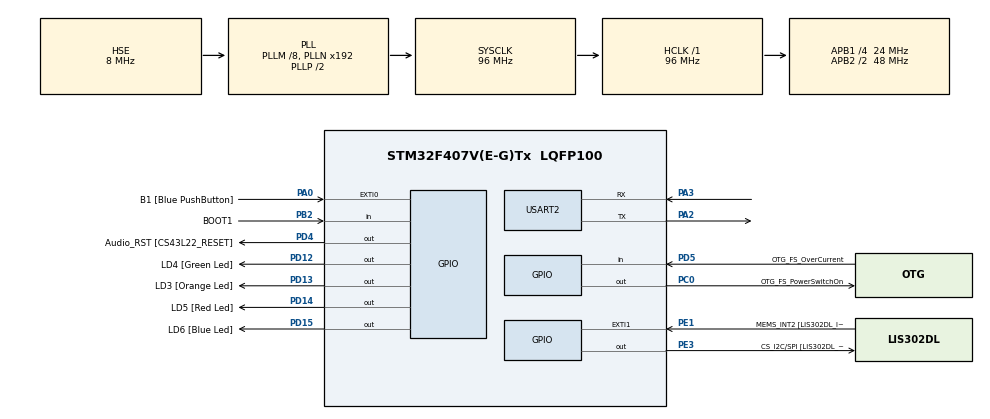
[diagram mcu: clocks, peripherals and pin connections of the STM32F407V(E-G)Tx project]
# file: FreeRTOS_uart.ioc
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FREERTOS.Tasks01=defaultTask,0,128,StartDefaultTask,Default,NULL,Dynamic,NULL,NULL
FREERTOS.configUSE_COUNTING_SEMAPHORES=1
Mcu.Family=STM32F4
Mcu.Name=STM32F407V(E-G)Tx
Mcu.Package=LQFP100
NVIC.PriorityGroup=NVIC_PRIORITYGROUP_4
NVIC.TIM6_DAC_IRQn=true\:15\:0\:false\:false\:true\:false\:false\:true\:true
NVIC.TimeBase=TIM6_DAC_IRQn
NVIC.TimeBaseIP=TIM6
NVIC.USART2_IRQn=true\:5\:0\:false\:false\:true\:true\:true\:true\:true
PA0-WKUP.GPIO_Label=B1 [Blue PushButton]
PA0-WKUP.Signal=GPXTI0
PA10.GPIO_Label=OTG_FS_ID
PA10.GPIO_Mode=GPIO_MODE_AF_PP
PA10.GPIO_PuPd=GPIO_NOPULL
PA10.GPIO_Speed=GPIO_SPEED_FREQ_LOW
PA10.Signal=USB_OTG_FS_ID
PA11.GPIO_Label=OTG_FS_DM
PA11.GPIO_Mode=GPIO_MODE_AF_PP
PA11.GPIO_PuPd=GPIO_NOPULL
PA11.GPIO_Speed=GPIO_SPEED_FREQ_LOW
PA11.Signal=USB_OTG_FS_DM
PA12.GPIO_Label=OTG_FS_DP
PA12.GPIO_Mode=GPIO_MODE_AF_PP
PA12.GPIO_PuPd=GPIO_NOPULL
PA12.GPIO_Speed=GPIO_SPEED_FREQ_LOW
PA12.Signal=USB_OTG_FS_DP
PA13.GPIO_Label=SWDIO
PA13.Signal=SYS_JTMS-SWDIO
PA14.GPIO_Label=SWCLK
PA14.Signal=SYS_JTCK-SWCLK
PA2.Mode=Asynchronous
PA2.Signal=USART2_TX
PA3.Mode=Asynchronous
PA3.Signal=USART2_RX
PA4.GPIO_Label=I2S3_WS [CS43L22_LRCK]
PA4.GPIO_Mode=GPIO_MODE_AF_PP
PA4.GPIO_PuPd=GPIO_NOPULL
PA4.GPIO_Speed=GPIO_SPEED_FREQ_LOW
PA4.Signal=I2S3_WS
PA5.GPIO_Label=SPI1_SCK [LIS302DL_SCL/SPC]
PA5.GPIO_Mode=GPIO_MODE_AF_PP
PA5.GPIO_PuPd=GPIO_NOPULL
PA5.GPIO_Speed=GPIO_SPEED_FREQ_LOW
PA5.Signal=SPI1_SCK
PA6.GPIO_Label=SPI1_MISO [LIS302DL_SDO]
PA6.GPIO_Mode=GPIO_MODE_AF_PP
PA6.GPIO_PuPd=GPIO_NOPULL
PA6.GPIO_Speed=GPIO_SPEED_FREQ_LOW
PA6.Signal=SPI1_MISO
PA7.GPIO_Label=SPI1_MOSI [LIS302DL_SDA/SDI/SDO]
PA7.GPIO_Mode=GPIO_MODE_AF_PP
PA7.GPIO_PuPd=GPIO_NOPULL
PA7.GPIO_Speed=GPIO_SPEED_FREQ_LOW
PA7.Signal=SPI1_MOSI
PA9.GPIO_Label=VBUS_FS
PA9.GPIO_Mode=GPIO_MODE_INPUT
PA9.GPIO_PuPd=GPIO_NOPULL
PA9.Signal=USB_OTG_FS_VBUS
PB10.GPIO_Label=CLK_IN [MP45DT02_CLK]
PB10.GPIO_Mode=GPIO_MODE_AF_PP
PB10.GPIO_PuPd=GPIO_NOPULL
PB10.GPIO_Speed=GPIO_SPEED_FREQ_LOW
PB10.Signal=I2S2_CK
PB2.GPIO_Label=BOOT1
PB2.GPIO_Mode=GPIO_MODE_INPUT
PB2.GPIO_PuPd=GPIO_NOPULL
PB2.Signal=GPIO_Input
PB3.GPIO_Label=SWO
PB3.Signal=SYS_JTDO-SWO
PB6.GPIO_Label=Audio_SCL [CS43L22_SCL]
PB6.GPIO_Mode=GPIO_MODE_AF_OD
PB6.GPIO_PuPd=GPIO_NOPULL
PB6.GPIO_Speed=GPIO_SPEED_FREQ_LOW
PB6.Signal=I2C1_SCL
PB9.GPIO_Label=Audio_SDA [CS43L22_SDA]
PB9.GPIO_Mode=GPIO_MODE_AF_OD
PB9.GPIO_PuPd=GPIO_NOPULL
PB9.GPIO_Speed=GPIO_SPEED_FREQ_LOW
PB9.Signal=I2C1_SDA
PC0.GPIO_Label=OTG_FS_PowerSwitchOn
PC0.GPIO_PuPd=GPIO_NOPULL
PC0.GPIO_Speed=GPIO_SPEED_FREQ_LOW
PC0.PinState=GPIO_PIN_SET
PC0.Signal=GPIO_Output
PC10.GPIO_Label=I2S3_SCK [CS43L22_SCLK]
PC10.GPIO_Mode=GPIO_MODE_AF_PP
PC10.GPIO_PuPd=GPIO_NOPULL
PC10.GPIO_Speed=GPIO_SPEED_FREQ_LOW
PC10.Signal=I2S3_CK
PC12.GPIO_Label=I2S3_SD [CS43L22_SDIN]
PC12.GPIO_Mode=GPIO_MODE_AF_PP
PC12.GPIO_PuPd=GPIO_NOPULL
PC12.GPIO_Speed=GPIO_SPEED_FREQ_LOW
PC12.Signal=I2S3_SD
PC14-OSC32_IN.GPIO_Label=PC14-OSC32_IN
PC14-OSC32_IN.Signal=RCC_OSC32_IN
PC15-OSC32_OUT.GPIO_Label=PC15-OSC32_OUT
PC15-OSC32_OUT.Signal=RCC_OSC32_OUT
PC3.GPIO_Label=PDM_OUT [MP45DT02_DOUT]
PC3.GPIO_Mode=GPIO_MODE_AF_PP
PC3.GPIO_PuPd=GPIO_NOPULL
PC3.GPIO_Speed=GPIO_SPEED_FREQ_LOW
PC3.Signal=I2S2_SD
PC7.GPIO_Label=I2S3_MCK [CS43L22_MCLK]
PC7.GPIO_Mode=GPIO_MODE_AF_PP
PC7.GPIO_PuPd=GPIO_NOPULL
PC7.GPIO_Speed=GPIO_SPEED_FREQ_LOW
PC7.Signal=I2S3_MCK
PD12.GPIO_Label=LD4 [Green Led]
PD12.GPIO_PuPd=GPIO_NOPULL
PD12.GPIO_Speed=GPIO_SPEED_FREQ_LOW
PD12.Signal=GPIO_Output
PD13.GPIO_Label=LD3 [Orange Led]
PD13.GPIO_PuPd=GPIO_NOPULL
PD13.GPIO_Speed=GPIO_SPEED_FREQ_LOW
PD13.Signal=GPIO_Output
PD14.GPIO_Label=LD5 [Red Led]
PD14.GPIO_PuPd=GPIO_NOPULL
PD14.GPIO_Speed=GPIO_SPEED_FREQ_LOW
PD14.Signal=GPIO_Output
PD15.GPIO_Label=LD6 [Blue Led]
PD15.GPIO_PuPd=GPIO_NOPULL
PD15.GPIO_Speed=GPIO_SPEED_FREQ_LOW
PD15.Signal=GPIO_Output
PD4.GPIO_Label=Audio_RST [CS43L22_RESET]
PD4.GPIO_PuPd=GPIO_NOPULL
PD4.GPIO_Speed=GPIO_SPEED_FREQ_LOW
PD4.Signal=GPIO_Output
PD5.GPIO_Label=OTG_FS_OverCurrent
PD5.GPIO_Mode=GPIO_MODE_INPUT
PD5.GPIO_PuPd=GPIO_NOPULL
PD5.Signal=GPIO_Input
PE1.GPIO_Label=MEMS_INT2 [LIS302DL_INT2]
PE1.GPIO_ModeDefaultEXTI=GPIO_MODE_EVT_RISING
PE1.GPIO_PuPd=GPIO_NOPULL
PE1.Signal=GPXTI1
PE3.GPIO_Label=CS_I2C/SPI [LIS302DL_CS_I2C/SPI]
PE3.GPIO_PuPd=GPIO_NOPULL
PE3.GPIO_Speed=GPIO_SPEED_FREQ_LOW
PE3.Signal=GPIO_Output
PH0-OSC_IN.GPIO_Label=PH0-OSC_IN
PH0-OSC_IN.Mode=HSE-External-Oscillator
PH0-OSC_IN.Signal=RCC_OSC_IN
PH1-OSC_OUT.GPIO_Label=PH1-OSC_OUT
PH1-OSC_OUT.Mode=HSE-External-Oscillator
PH1-OSC_OUT.Signal=RCC_OSC_OUT
ProjectManager.HeapSize=0x200
ProjectManager.StackSize=0x400
ProjectManager.TargetToolchain=STM32CubeIDE
RCC.48MHZClocksFreq_Value=27428571.42857143
RCC.AHBFreq_Value=96000000
RCC.APB1CLKDivider=RCC_HCLK_DIV4
RCC.APB1Freq_Value=24000000
RCC.APB1TimFreq_Value=48000000
RCC.APB2CLKDivider=RCC_HCLK_DIV2
RCC.APB2Freq_Value=48000000
RCC.APB2TimFreq_Value=96000000
RCC.CortexFreq_Value=96000000
RCC.HCLKFreq_Value=96000000
RCC.HSE_VALUE=8000000
RCC.HSI_VALUE=16000000
RCC.LSE_VALUE=32768
RCC.PLLM=8
RCC.PLLQ=7
RCC.PLLSourceVirtual=RCC_PLLSOURCE_HSE
RCC.SYSCLKFreq_VALUE=96000000
RCC.SYSCLKSource=RCC_SYSCLKSOURCE_PLLCLK
RCC.VCOOutputFreq_Value=192000000
USART2.VirtualMode=VM_ASYNC
VP_FREERTOS_VS_CMSIS_V1.Mode=CMSIS_V1
VP_SYS_VS_tim6.Mode=TIM6
board=STM32F407G-DISC1

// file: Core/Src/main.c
/* USER CODE BEGIN Header */
/**
  ******************************************************************************
  * @file           : main.c
  * @brief          : Main program body
  ******************************************************************************
  * @attention
  *
  * Copyright (c) 2022 STMicroelectronics.
  * All rights reserved.
  *
  * This software is licensed under terms that can be found in the LICENSE file
  * in the root directory of this software component.
  * If no LICENSE file comes with this software, it is provided AS-IS.
  *
  ******************************************************************************
  */
/* USER CODE END Header */
#include "main.h"
//#include "cmsis_os.h"

#include "FreeRTOS.h"
#include "task.h"
#include "timers.h"
#include "queue.h"
#include "semphr.h"
#include "event_groups.h"

#include "stdlib.h"
#include "string.h"

UART_HandleTypeDef huart2;

void SystemClock_Config(void);
static void MX_GPIO_Init(void);
static void MX_USART2_UART_Init(void);

/* USER CODE BEGIN 0 */

TaskHandle_t HPThandler;
void HPT_Task(void *pvParameters);

TaskHandle_t MPThandler;
void MPT_Task(void *pvParameters);

TaskHandle_t LPThandler;
void LPT_Task(void *pvParameters);

TaskHandle_t VLPThandler;
void VLPT_Task(void *pvParameters);

SemaphoreHandle_t CountingSem;

int resource[3] = { 111, 222, 333 };
int indx=0;

uint8_t rx_data;
/* USER CODE END 0 */

int main(void)
{

  /* MCU Configuration--------------------------------------------------------*/

  /* Reset of all peripherals, Initializes the Flash interface and the Systick. */
  HAL_Init();

  /* Configure the system clock */
  SystemClock_Config();

  /* Initialize all configured peripherals */
  MX_GPIO_Init();
  MX_USART2_UART_Init();
  /* USER CODE BEGIN 2 */

  HAL_UART_Receive_IT(&huart2, &rx_data, 1);

  CountingSem = xSemaphoreCreateCounting(3,0);

  if(CountingSem == NULL)
	  HAL_UART_Transmit(&huart2, (uint8_t*)"Unable to Create Semaphore\n\n", 28, 100);
  else
	  HAL_UART_Transmit(&huart2, (uint8_t*)"Counting Semaphore created successfully\n\n", 41, 100);

//create tasks
  xTaskCreate(HPT_Task, "HPT", 128, NULL, 3, &HPThandler);
  xTaskCreate(MPT_Task, "MPT", 128, NULL, 2, &MPThandler);
  xTaskCreate(LPT_Task, "LPT", 128, NULL, 1, &LPThandler);
  xTaskCreate(VLPT_Task, "VLPT", 128, NULL, 0, &VLPThandler);

  vTaskStartScheduler();

  /* USER CODE END 2 */

  /* We should never get here as control is now taken by the scheduler */
  /* Infinite loop */
  while (1)
  {

  }
}

void SystemClock_Config(void)
{
  RCC_OscInitTypeDef RCC_OscInitStruct = {0};
  RCC_ClkInitTypeDef RCC_ClkInitStruct = {0};

  /** Configure the main internal regulator output voltage
  */
  __HAL_RCC_PWR_CLK_ENABLE();
  __HAL_PWR_VOLTAGESCALING_CONFIG(PWR_REGULATOR_VOLTAGE_SCALE1);

  /** Initializes the RCC Oscillators according to the specified parameters
  * in the RCC_OscInitTypeDef structure.
  */
  RCC_OscInitStruct.OscillatorType = RCC_OSCILLATORTYPE_HSE;
  RCC_OscInitStruct.HSEState = RCC_HSE_ON;
  RCC_OscInitStruct.PLL.PLLState = RCC_PLL_ON;
  RCC_OscInitStruct.PLL.PLLSource = RCC_PLLSOURCE_HSE;
  RCC_OscInitStruct.PLL.PLLM = 8;
  RCC_OscInitStruct.PLL.PLLN = 192;
  RCC_OscInitStruct.PLL.PLLP = RCC_PLLP_DIV2;
  RCC_OscInitStruct.PLL.PLLQ = 7;
  if (HAL_RCC_OscConfig(&RCC_OscInitStruct) != HAL_OK)
  {
    Error_Handler();
  }

  /** Initializes the CPU, AHB and APB buses clocks
  */
  RCC_ClkInitStruct.ClockType = RCC_CLOCKTYPE_HCLK|RCC_CLOCKTYPE_SYSCLK
                              |RCC_CLOCKTYPE_PCLK1|RCC_CLOCKTYPE_PCLK2;
  RCC_ClkInitStruct.SYSCLKSource = RCC_SYSCLKSOURCE_PLLCLK;
  RCC_ClkInitStruct.AHBCLKDivider = RCC_SYSCLK_DIV1;
  RCC_ClkInitStruct.APB1CLKDivider = RCC_HCLK_DIV4;
  RCC_ClkInitStruct.APB2CLKDivider = RCC_HCLK_DIV2;

  if (HAL_RCC_ClockConfig(&RCC_ClkInitStruct, FLASH_LATENCY_3) != HAL_OK)
  {
    Error_Handler();
  }
}

static void MX_USART2_UART_Init(void)
{

  huart2.Instance = USART2;
  huart2.Init.BaudRate = 115200;
  huart2.Init.WordLength = UART_WORDLENGTH_8B;
  huart2.Init.StopBits = UART_STOPBITS_1;
  huart2.Init.Parity = UART_PARITY_NONE;
  huart2.Init.Mode = UART_MODE_TX_RX;
  huart2.Init.HwFlowCtl = UART_HWCONTROL_NONE;
  huart2.Init.OverSampling = UART_OVERSAMPLING_16;
  if (HAL_UART_Init(&huart2) != HAL_OK)
  {
    Error_Handler();
  }

}

static void MX_GPIO_Init(void)
{
  GPIO_InitTypeDef GPIO_InitStruct = {0};

  /* GPIO Ports Clock Enable */
  __HAL_RCC_GPIOE_CLK_ENABLE();
  __HAL_RCC_GPIOC_CLK_ENABLE();
  __HAL_RCC_GPIOH_CLK_ENABLE();
  __HAL_RCC_GPIOA_CLK_ENABLE();
  __HAL_RCC_GPIOB_CLK_ENABLE();
  __HAL_RCC_GPIOD_CLK_ENABLE();

  /*Configure GPIO pin Output Level */
  HAL_GPIO_WritePin(CS_I2C_SPI_GPIO_Port, CS_I2C_SPI_Pin, GPIO_PIN_RESET);

  /*Configure GPIO pin Output Level */
  HAL_GPIO_WritePin(OTG_FS_PowerSwitchOn_GPIO_Port, OTG_FS_PowerSwitchOn_Pin, GPIO_PIN_SET);

  /*Configure GPIO pin Output Level */
  HAL_GPIO_WritePin(GPIOD, LD4_Pin|LD3_Pin|LD5_Pin|LD6_Pin
                          |Audio_RST_Pin, GPIO_PIN_RESET);

  /*Configure GPIO pin : CS_I2C_SPI_Pin */
  GPIO_InitStruct.Pin = CS_I2C_SPI_Pin;
  GPIO_InitStruct.Mode = GPIO_MODE_OUTPUT_PP;
  GPIO_InitStruct.Pull = GPIO_NOPULL;
  GPIO_InitStruct.Speed = GPIO_SPEED_FREQ_LOW;
  HAL_GPIO_Init(CS_I2C_SPI_GPIO_Port, &GPIO_InitStruct);

  /*Configure GPIO pin : OTG_FS_PowerSwitchOn_Pin */
  GPIO_InitStruct.Pin = OTG_FS_PowerSwitchOn_Pin;
  GPIO_InitStruct.Mode = GPIO_MODE_OUTPUT_PP;
  GPIO_InitStruct.Pull = GPIO_NOPULL;
  GPIO_InitStruct.Speed = GPIO_SPEED_FREQ_LOW;
  HAL_GPIO_Init(OTG_FS_PowerSwitchOn_GPIO_Port, &GPIO_InitStruct);

  /*Configure GPIO pin : PDM_OUT_Pin */
  GPIO_InitStruct.Pin = PDM_OUT_Pin;
  GPIO_InitStruct.Mode = GPIO_MODE_AF_PP;
  GPIO_InitStruct.Pull = GPIO_NOPULL;
  GPIO_InitStruct.Speed = GPIO_SPEED_FREQ_LOW;
  GPIO_InitStruct.Alternate = GPIO_AF5_SPI2;
  HAL_GPIO_Init(PDM_OUT_GPIO_Port, &GPIO_InitStruct);

  /*Configure GPIO pin : B1_Pin */
  GPIO_InitStruct.Pin = B1_Pin;
  GPIO_InitStruct.Mode = GPIO_MODE_IT_RISING;
  GPIO_InitStruct.Pull = GPIO_NOPULL;
  HAL_GPIO_Init(B1_GPIO_Port, &GPIO_InitStruct);

  /*Configure GPIO pin : I2S3_WS_Pin */
  GPIO_InitStruct.Pin = I2S3_WS_Pin;
  GPIO_InitStruct.Mode = GPIO_MODE_AF_PP;
  GPIO_InitStruct.Pull = GPIO_NOPULL;
  GPIO_InitStruct.Speed = GPIO_SPEED_FREQ_LOW;
  GPIO_InitStruct.Alternate = GPIO_AF6_SPI3;
  HAL_GPIO_Init(I2S3_WS_GPIO_Port, &GPIO_InitStruct);

  /*Configure GPIO pins : SPI1_SCK_Pin SPI1_MISO_Pin SPI1_MOSI_Pin */
  GPIO_InitStruct.Pin = SPI1_SCK_Pin|SPI1_MISO_Pin|SPI1_MOSI_Pin;
  GPIO_InitStruct.Mode = GPIO_MODE_AF_PP;
  GPIO_InitStruct.Pull = GPIO_NOPULL;
  GPIO_InitStruct.Speed = GPIO_SPEED_FREQ_LOW;
  GPIO_InitStruct.Alternate = GPIO_AF5_SPI1;
  HAL_GPIO_Init(GPIOA, &GPIO_InitStruct);

  /*Configure GPIO pin : BOOT1_Pin */
  GPIO_InitStruct.Pin = BOOT1_Pin;
  GPIO_InitStruct.Mode = GPIO_MODE_INPUT;
  GPIO_InitStruct.Pull = GPIO_NOPULL;
  HAL_GPIO_Init(BOOT1_GPIO_Port, &GPIO_InitStruct);

  /*Configure GPIO pin : CLK_IN_Pin */
  GPIO_InitStruct.Pin = CLK_IN_Pin;
  GPIO_InitStruct.Mode = GPIO_MODE_AF_PP;
  GPIO_InitStruct.Pull = GPIO_NOPULL;
  GPIO_InitStruct.Speed = GPIO_SPEED_FREQ_LOW;
  GPIO_InitStruct.Alternate = GPIO_AF5_SPI2;
  HAL_GPIO_Init(CLK_IN_GPIO_Port, &GPIO_InitStruct);

  /*Configure GPIO pins : LD4_Pin LD3_Pin LD5_Pin LD6_Pin
                           Audio_RST_Pin */
  GPIO_InitStruct.Pin = LD4_Pin|LD3_Pin|LD5_Pin|LD6_Pin
                          |Audio_RST_Pin;
  GPIO_InitStruct.Mode = GPIO_MODE_OUTPUT_PP;
  GPIO_InitStruct.Pull = GPIO_NOPULL;
  GPIO_InitStruct.Speed = GPIO_SPEED_FREQ_LOW;
  HAL_GPIO_Init(GPIOD, &GPIO_InitStruct);

  /*Configure GPIO pins : I2S3_MCK_Pin I2S3_SCK_Pin I2S3_SD_Pin */
  GPIO_InitStruct.Pin = I2S3_MCK_Pin|I2S3_SCK_Pin|I2S3_SD_Pin;
  GPIO_InitStruct.Mode = GPIO_MODE_AF_PP;
  GPIO_InitStruct.Pull = GPIO_NOPULL;
  GPIO_InitStruct.Speed = GPIO_SPEED_FREQ_LOW;
  GPIO_InitStruct.Alternate = GPIO_AF6_SPI3;
  HAL_GPIO_Init(GPIOC, &GPIO_InitStruct);

  /*Configure GPIO pin : VBUS_FS_Pin */
  GPIO_InitStruct.Pin = VBUS_FS_Pin;
  GPIO_InitStruct.Mode = GPIO_MODE_INPUT;
  GPIO_InitStruct.Pull = GPIO_NOPULL;
  HAL_GPIO_Init(VBUS_FS_GPIO_Port, &GPIO_InitStruct);

  /*Configure GPIO pins : OTG_FS_ID_Pin OTG_FS_DM_Pin OTG_FS_DP_Pin */
  GPIO_InitStruct.Pin = OTG_FS_ID_Pin|OTG_FS_DM_Pin|OTG_FS_DP_Pin;
  GPIO_InitStruct.Mode = GPIO_MODE_AF_PP;
  GPIO_InitStruct.Pull = GPIO_NOPULL;
  GPIO_InitStruct.Speed = GPIO_SPEED_FREQ_LOW;
  GPIO_InitStruct.Alternate = GPIO_AF10_OTG_FS;
  HAL_GPIO_Init(GPIOA, &GPIO_InitStruct);

  /*Configure GPIO pin : OTG_FS_OverCurrent_Pin */
  GPIO_InitStruct.Pin = OTG_FS_OverCurrent_Pin;
  GPIO_InitStruct.Mode = GPIO_MODE_INPUT;
  GPIO_InitStruct.Pull = GPIO_NOPULL;
  HAL_GPIO_Init(OTG_FS_OverCurrent_GPIO_Port, &GPIO_InitStruct);

  /*Configure GPIO pins : Audio_SCL_Pin Audio_SDA_Pin */
  GPIO_InitStruct.Pin = Audio_SCL_Pin|Audio_SDA_Pin;
  GPIO_InitStruct.Mode = GPIO_MODE_AF_OD;
  GPIO_InitStruct.Pull = GPIO_NOPULL;
  GPIO_InitStruct.Speed = GPIO_SPEED_FREQ_LOW;
  GPIO_InitStruct.Alternate = GPIO_AF4_I2C1;
  HAL_GPIO_Init(GPIOB, &GPIO_InitStruct);

  /*Configure GPIO pin : MEMS_INT2_Pin */
  GPIO_InitStruct.Pin = MEMS_INT2_Pin;
  GPIO_InitStruct.Mode = GPIO_MODE_EVT_RISING;
  GPIO_InitStruct.Pull = GPIO_NOPULL;
  HAL_GPIO_Init(MEMS_INT2_GPIO_Port, &GPIO_InitStruct);

}

/* USER CODE BEGIN 4 */

void HPT_Task(void *pvParameters){
	char sresource[3];
	int semcount = 0;
	char ssemcount[2];

	//give 3 semaphores at the beginning
	xSemaphoreGive(CountingSem);
	xSemaphoreGive(CountingSem);
	xSemaphoreGive(CountingSem);

	while(1){
		char str[150];
		strcpy(str, "Entered HPT Task\n About to ACQOIRE the Semaphore\n\n");
		HAL_UART_Transmit(&huart2, (uint8_t*)str, strlen(str), HAL_MAX_DELAY);

		xSemaphoreTake(CountingSem,portMAX_DELAY);

		itoa(resource[indx],sresource,10);
		strcpy(str,"Leaving HPT Task\n Data ACCESSED is:: ");
		strcat(str,sresource);
		strcat(str,"\n Not releasing the Semaphore\n\n");
		HAL_UART_Transmit(&huart2, (uint8_t*)str, strlen(str), HAL_MAX_DELAY);

		indx++;
		if(indx > 2)
			indx=0;

		//vTaskDelay(3000);
		vTaskDelete(NULL);
	}
}

void MPT_Task(void *pvParameters){
	char sresource[3];

	while(1){
		char str[150];
		strcpy(str, "Entered MPT Task\n About to ACQOIRE the Semaphore\n\n");
		HAL_UART_Transmit(&huart2, (uint8_t*)str, strlen(str), HAL_MAX_DELAY);

		xSemaphoreTake(CountingSem,portMAX_DELAY);

		itoa(resource[indx],sresource,10);
		strcpy(str,"Leaving MPT Task\n Data ACCESSED is:: ");
		strcat(str,sresource);
		strcat(str,"\n Not releasing the Semaphore\n\n");
		HAL_UART_Transmit(&huart2, (uint8_t*)str, strlen(str), HAL_MAX_DELAY);

		indx++;
		if(indx > 2)
			indx=0;

		//vTaskDelay(2000);
		vTaskDelete(NULL);

	}
}

void LPT_Task(void *pvParameters){
	char sresource[3];

	while(1){
		char str[150];
		strcpy(str, "Entered LPT Task\n About to ACQOIRE the Semaphore\n\n");
		HAL_UART_Transmit(&huart2, (uint8_t*)str, strlen(str), HAL_MAX_DELAY);

		xSemaphoreTake(CountingSem,portMAX_DELAY);

		itoa(resource[indx],sresource,10);
		strcpy(str,"Leaving LPT Task\n Data ACCESSED is:: ");
		strcat(str,sresource);
		strcat(str,"\n Not releasing the Semaphore\n\n");
		HAL_UART_Transmit(&huart2, (uint8_t*)str, strlen(str), HAL_MAX_DELAY);

		indx++;
		if(indx > 2)
			indx=0;

		//vTaskDelay(1000);
		vTaskDelete(NULL);

	}
}

void VLPT_Task(void *pvParameters){
	char sresource[3];

	while(1){
		char str[150];
		strcpy(str, "Entered VLPT Task\n About to ACQOIRE the Semaphore\n\n");
		HAL_UART_Transmit(&huart2, (uint8_t*)str, strlen(str), HAL_MAX_DELAY);

		xSemaphoreTake(CountingSem,portMAX_DELAY);

		itoa(resource[indx],sresource,10);
		strcpy(str,"Leaving VLPT Task\n Data ACCESSED is:: ");
		strcat(str,sresource);
		strcat(str,"\n Not releasing the Semaphore\n\n");
		HAL_UART_Transmit(&huart2, (uint8_t*)str, strlen(str), HAL_MAX_DELAY);

		indx++;
		if(indx > 2)
			indx=0;

		//vTaskDelay(3000);
		vTaskDelay(500);
	}
}

//UART Callback Funciton
void HAL_UART_RxCpltCallback(UART_HandleTypeDef *huart){
	HAL_UART_Receive_IT(&huart2, &rx_data, 1);

	if(rx_data == 'r'){
		BaseType_t xHigherPriorityTaskWoken = pdFALSE;

		xSemaphoreGiveFromISR(xHigherPriorityTaskWoken);

		portEND_SWITCHING_ISR(xHigherPriorityTaskWoken);
	}
}

/* USER CODE END 4 */

void HAL_TIM_PeriodElapsedCallback(TIM_HandleTypeDef *htim)
{
  if (htim->Instance == TIM6) {
    HAL_IncTick();
  }
}

void Error_Handler(void)
{
  __disable_irq();
  while (1)
  {
  }
}
